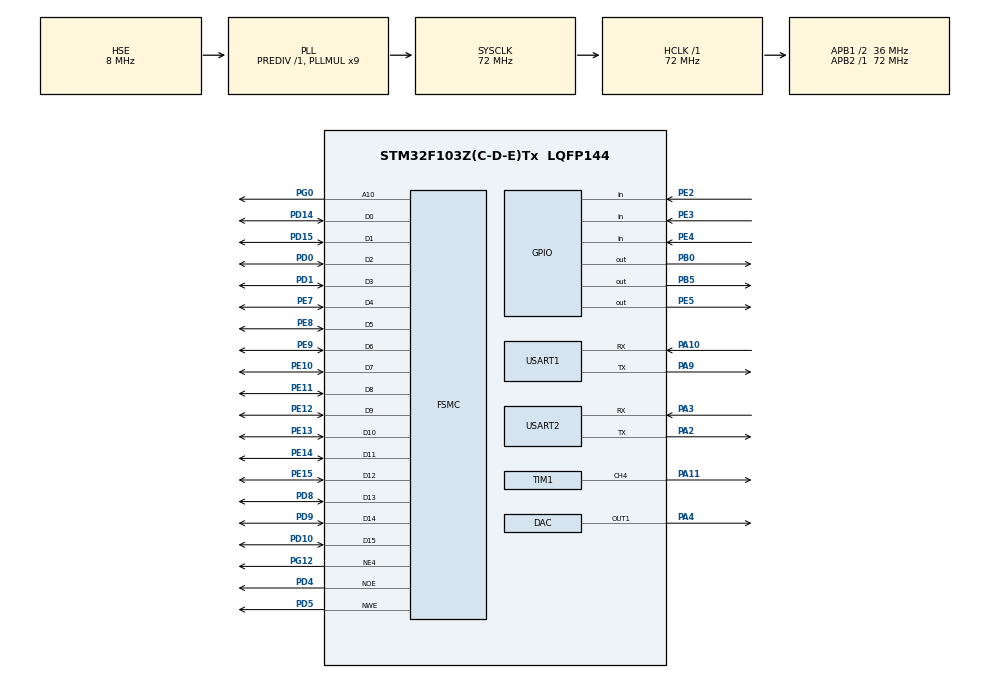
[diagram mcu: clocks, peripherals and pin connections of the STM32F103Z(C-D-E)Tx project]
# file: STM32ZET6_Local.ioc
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DAC.DAC_Trigger=DAC_TRIGGER_NONE
Dma.DAC_CH1.0.Direction=DMA_MEMORY_TO_PERIPH
Dma.DAC_CH1.0.Instance=DMA2_Channel3
Dma.DAC_CH1.0.MemDataAlignment=DMA_MDATAALIGN_HALFWORD
Dma.DAC_CH1.0.MemInc=DMA_MINC_ENABLE
Dma.DAC_CH1.0.Mode=DMA_CIRCULAR
Dma.DAC_CH1.0.PeriphDataAlignment=DMA_PDATAALIGN_HALFWORD
Dma.DAC_CH1.0.PeriphInc=DMA_PINC_DISABLE
Dma.DAC_CH1.0.Priority=DMA_PRIORITY_LOW
Dma.Request0=DAC_CH1
FSMC.ExtendedMode1=FSMC_EXTENDED_MODE_ENABLE
Mcu.Family=STM32F1
Mcu.Name=STM32F103Z(C-D-E)Tx
Mcu.Package=LQFP144
NVIC.DMA2_Channel3_IRQn=true\:0\:0\:false\:false\:true\:false\:true\:true
NVIC.PriorityGroup=NVIC_PRIORITYGROUP_4
NVIC.TIM6_IRQn=true\:0\:0\:false\:false\:true\:true\:true\:true
NVIC.USART1_IRQn=true\:0\:0\:false\:false\:true\:true\:true\:true
NVIC.USART2_IRQn=true\:0\:0\:false\:false\:true\:true\:true\:true
OSC_IN.Mode=HSE-External-Oscillator
OSC_IN.Signal=RCC_OSC_IN
OSC_OUT.Mode=HSE-External-Oscillator
OSC_OUT.Signal=RCC_OSC_OUT
PA10.Mode=Asynchronous
PA10.Signal=USART1_RX
PA11.Signal=S_TIM1_CH4
PA13.Mode=Serial_Wire
PA13.Signal=SYS_JTMS-SWDIO
PA14.Mode=Serial_Wire
PA14.Signal=SYS_JTCK-SWCLK
PA2.Mode=Asynchronous
PA2.Signal=USART2_TX
PA3.Mode=Asynchronous
PA3.Signal=USART2_RX
PA4.Signal=COMP_DAC1_group
PA9.Mode=Asynchronous
PA9.Signal=USART1_TX
PB0.GPIO_PuPd=GPIO_PULLUP
PB0.Signal=GPIO_Output
PB5.PinState=GPIO_PIN_SET
PB5.Signal=GPIO_Output
PD0.Signal=FSMC_D2_DA2
PD1.Signal=FSMC_D3_DA3
PD10.Signal=FSMC_D15_DA15
PD14.Signal=FSMC_D0_DA0
PD15.Signal=FSMC_D1_DA1
PD4.Signal=FSMC_NOE
PD5.Signal=FSMC_NWE
PD8.Signal=FSMC_D13_DA13
PD9.Signal=FSMC_D14_DA14
PE10.Signal=FSMC_D7_DA7
PE11.Signal=FSMC_D8_DA8
PE12.Signal=FSMC_D9_DA9
PE13.Signal=FSMC_D10_DA10
PE14.Signal=FSMC_D11_DA11
PE15.Signal=FSMC_D12_DA12
PE2.GPIO_PuPd=GPIO_PULLUP
PE2.Signal=GPIO_Input
PE3.GPIO_PuPd=GPIO_PULLUP
PE3.Signal=GPIO_Input
PE4.GPIO_PuPd=GPIO_PULLUP
PE4.Signal=GPIO_Input
PE5.PinState=GPIO_PIN_SET
PE5.Signal=GPIO_Output
PE7.Signal=FSMC_D4_DA4
PE8.Signal=FSMC_D5_DA5
PE9.Signal=FSMC_D6_DA6
PG0.Signal=FSMC_A10
PG12.Mode=NorPsramChipSelect4_1
PG12.Signal=FSMC_NE4
ProjectManager.HeapSize=0x200
ProjectManager.StackSize=0x400
ProjectManager.TargetToolchain=MDK-ARM V5
RCC.AHBFreq_Value=72000000
RCC.APB1CLKDivider=RCC_HCLK_DIV2
RCC.APB1Freq_Value=36000000
RCC.APB1TimFreq_Value=72000000
RCC.APB2Freq_Value=72000000
RCC.APB2TimFreq_Value=72000000
RCC.HCLKFreq_Value=72000000
RCC.PLLMUL=RCC_PLL_MUL9
RCC.PLLSourceVirtual=RCC_PLLSOURCE_HSE
RCC.SYSCLKFreq_VALUE=72000000
RCC.SYSCLKSource=RCC_SYSCLKSOURCE_PLLCLK
RCC.USBFreq_Value=72000000
SH.COMP_DAC1_group.0=DAC_OUT1,DAC_OUT1
SH.FSMC_A10.0=FSMC_A10,A10_1
SH.FSMC_D0_DA0.0=FSMC_D0,16b-d1
SH.FSMC_D10_DA10.0=FSMC_D10,16b-d1
SH.FSMC_D11_DA11.0=FSMC_D11,16b-d1
SH.FSMC_D12_DA12.0=FSMC_D12,16b-d1
SH.FSMC_D13_DA13.0=FSMC_D13,16b-d1
SH.FSMC_D14_DA14.0=FSMC_D14,16b-d1
SH.FSMC_D15_DA15.0=FSMC_D15,16b-d1
SH.FSMC_D1_DA1.0=FSMC_D1,16b-d1
SH.FSMC_D2_DA2.0=FSMC_D2,16b-d1
SH.FSMC_D3_DA3.0=FSMC_D3,16b-d1
SH.FSMC_D4_DA4.0=FSMC_D4,16b-d1
SH.FSMC_D5_DA5.0=FSMC_D5,16b-d1
SH.FSMC_D6_DA6.0=FSMC_D6,16b-d1
SH.FSMC_D7_DA7.0=FSMC_D7,16b-d1
SH.FSMC_D8_DA8.0=FSMC_D8,16b-d1
SH.FSMC_D9_DA9.0=FSMC_D9,16b-d1
SH.FSMC_NOE.0=FSMC_NOE,Lcd1
SH.FSMC_NWE.0=FSMC_NWE,Lcd1
SH.S_TIM1_CH4.0=TIM1_CH4,PWM Generation4 CH4
TIM1.AutoReloadPreload=TIM_AUTORELOAD_PRELOAD_ENABLE
TIM1.Channel-PWM\ Generation4\ CH4=TIM_CHANNEL_4
TIM1.Period=99
TIM1.Prescaler=7199
TIM6.Period=99
TIM6.Prescaler=719
USART1.VirtualMode=VM_ASYNC
USART2.VirtualMode=VM_ASYNC
VP_TIM1_VS_ClockSourceINT.Mode=Internal
VP_TIM6_VS_ClockSourceINT.Mode=Enable_Timer
board=custom

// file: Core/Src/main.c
/* USER CODE BEGIN Header */
/**
 ******************************************************************************
 * @file           : main.c
 * @brief          : Main program body
 ******************************************************************************
 * @attention
 *
 * Copyright (c) 2023 STMicroelectronics.
 * All rights reserved.
 *
 * This software is licensed under terms that can be found in the LICENSE file
 * in the root directory of this software component.
 * If no LICENSE file comes with this software, it is provided AS-IS.
 *
 ******************************************************************************
 */
/* USER CODE END Header */
#include "main.h"
#include "dac.h"
#include "dma.h"
#include "tim.h"
#include "usart.h"
#include "gpio.h"
#include "fsmc.h"

/* USER CODE BEGIN Includes */
#include "lcd.h"
#include "stdint.h"
#include "string.h"

/* USER CODE END Includes */

/* USER CODE BEGIN PV */
unsigned int TimeCounter = 0;
struct KEY key[3] = {0, 0, 0};
unsigned char pwm_duty = 0;

/* USER CODE END PV */

void SystemClock_Config(void);
/* USER CODE BEGIN PFP */
void App_PWM_Control(void);

/* USER CODE END PFP */

int main(void)
{

  /* MCU Configuration--------------------------------------------------------*/

  /* Reset of all peripherals, Initializes the Flash interface and the Systick. */
  HAL_Init();

  /* Configure the system clock */
  SystemClock_Config();

  /* USER CODE BEGIN SysInit */
  // 打开所有中断
  __set_PRIMASK(0);

  /* USER CODE END SysInit */

  /* Initialize all configured peripherals */
  MX_GPIO_Init();
  MX_DMA_Init();
  MX_TIM6_Init();
  MX_USART2_UART_Init();
  MX_FSMC_Init();
  MX_TIM1_Init();
  MX_DAC_Init();
  MX_USART1_UART_Init();
  /* USER CODE BEGIN 2 */
  HAL_TIM_Base_Start_IT(&htim6);
  // HAL_TIM_PWM_Start(&htim1, TIM_CHANNEL_4);
  LED_Init();
  LCD_Init();

  // __HAL_TIM_SetCompare(&htim1, TIM_CHANNEL_4, 0);
  POINT_COLOR = RED;
  HAL_UART_Transmit(&huart1, (uint8_t *)"app ok\r\n", (uint16_t)strlen("app ok\r\n"), 0xf);

  /* USER CODE END 2 */

  /* Infinite loop */
  /* USER CODE BEGIN WHILE */
  while (1)
  {
    // App_PWM_Control();
    /* USER CODE END WHILE */

  }
}

void SystemClock_Config(void)
{
  RCC_OscInitTypeDef RCC_OscInitStruct = {0};
  RCC_ClkInitTypeDef RCC_ClkInitStruct = {0};

  /** Initializes the RCC Oscillators according to the specified parameters
   * in the RCC_OscInitTypeDef structure.
   */
  RCC_OscInitStruct.OscillatorType = RCC_OSCILLATORTYPE_HSE;
  RCC_OscInitStruct.HSEState = RCC_HSE_ON;
  RCC_OscInitStruct.HSEPredivValue = RCC_HSE_PREDIV_DIV1;
  RCC_OscInitStruct.HSIState = RCC_HSI_ON;
  RCC_OscInitStruct.PLL.PLLState = RCC_PLL_ON;
  RCC_OscInitStruct.PLL.PLLSource = RCC_PLLSOURCE_HSE;
  RCC_OscInitStruct.PLL.PLLMUL = RCC_PLL_MUL9;
  if (HAL_RCC_OscConfig(&RCC_OscInitStruct) != HAL_OK)
  {
    Error_Handler();
  }

  /** Initializes the CPU, AHB and APB buses clocks
   */
  RCC_ClkInitStruct.ClockType = RCC_CLOCKTYPE_HCLK | RCC_CLOCKTYPE_SYSCLK | RCC_CLOCKTYPE_PCLK1 | RCC_CLOCKTYPE_PCLK2;
  RCC_ClkInitStruct.SYSCLKSource = RCC_SYSCLKSOURCE_PLLCLK;
  RCC_ClkInitStruct.AHBCLKDivider = RCC_SYSCLK_DIV1;
  RCC_ClkInitStruct.APB1CLKDivider = RCC_HCLK_DIV2;
  RCC_ClkInitStruct.APB2CLKDivider = RCC_HCLK_DIV1;

  if (HAL_RCC_ClockConfig(&RCC_ClkInitStruct, FLASH_LATENCY_2) != HAL_OK)
  {
    Error_Handler();
  }
}

/* USER CODE BEGIN 4 */
void HAL_TIM_PeriodElapsedCallback(TIM_HandleTypeDef *htim)
{
  if (htim->Instance == TIM6)
  {
    TimeCounter++;
    if (TimeCounter == 5)
    {
      // 定时器检测按键
      TimeCounter = 0;
      key[0].key_io_state = HAL_GPIO_ReadPin(GPIOE, GPIO_PIN_2);
      key[1].key_io_state = HAL_GPIO_ReadPin(GPIOE, GPIO_PIN_3);
      key[2].key_io_state = HAL_GPIO_ReadPin(GPIOE, GPIO_PIN_4);

      for (int i = 0; i < 3; i++)
      {
        switch (key[i].key_state)
        {
        case 0:
          if (key[i].key_io_state == 0)
          {
            key[i].key_state = 1;
          }
          break;
        case 1:
          if (key[i].key_io_state == 0)
          {
            key[i].key_state = 2;
          }
          else
          {
            key[i].key_state = 0;
          }
          break;
        case 2:
          if (key[i].key_io_state == 1)
          {
            key[i].key_press_flag = 1;
            key[i].key_state = 0;
          }
          break;
        }
      }
    }
  }
}

void App_PWM_Control()
{
  if (key[0].key_press_flag == 1)
  {
    key[0].key_press_flag = 0;
    pwm_duty += 10;
    if (pwm_duty > 100)
    {
      pwm_duty = 0;
    }
    __HAL_TIM_SetCompare(&htim1, TIM_CHANNEL_4, pwm_duty);
  }
}

/* USER CODE END 4 */

void Error_Handler(void)
{
  __disable_irq();
  while (1)
  {
  }
}
